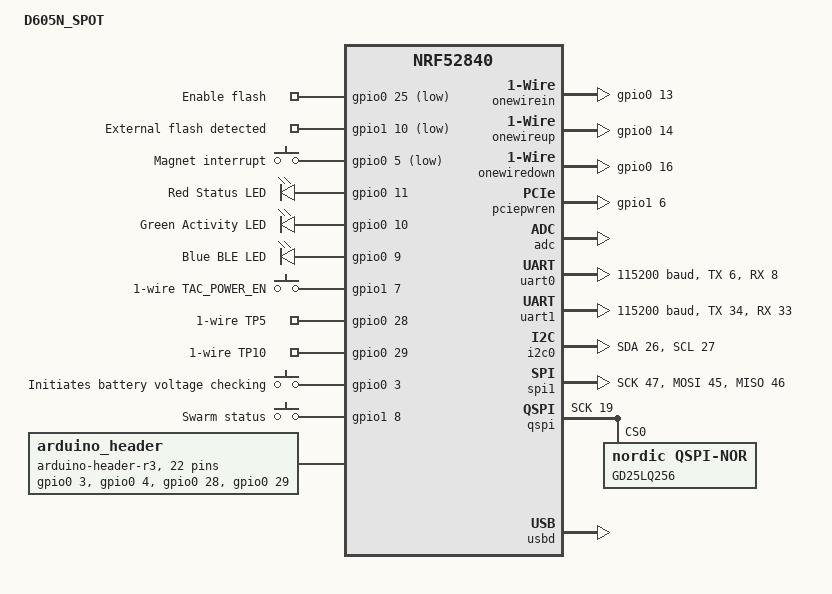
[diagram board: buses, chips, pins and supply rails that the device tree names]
/*
* Copyright (c) 2017 Linaro Limited
*
* SPDX-License-Identifier: Apache-2.0
*/

/dts-v1/;
#include <nordic/nrf52840_qiaa.dtsi>

/ {
    model = "D605N_SPOT";
    compatible = "nordic,d605n_spot";

    chosen {
        zephyr,console = &uart0;
        zephyr,shell-uart = &uart0;
        zephyr,uart-mcumgr = &uart0;
        zephyr,bt-mon-uart = &uart0;
        zephyr,bt-c2h-uart = &uart0;
        zephyr,sram = &sram0;
        zephyr,flash = &flash0;
        zephyr,code-partition = &slot0_partition;
    };

    extern_flash {
        compatible = "gpio-keys";

        flashpwren: flash_pwr_en {
            gpios = <&gpio0 25 (GPIO_PULL_UP | GPIO_ACTIVE_LOW)>;
            label = "Enable flash";
        };
        /* ecs: E_C_S {
            gpios = <&gpio0 24 (GPIO_ACTIVE_LOW)>;
            label = "Has something to do with flash";
        }; */
        flashinstalled: flash_installed {
            gpios = <&gpio1 10 (GPIO_ACTIVE_LOW)>;
            label = "External flash detected";
        };
    };

    interrupts {
        compatible = "gpio-keys";

        magnetintn: mag_int_n {
            gpios = <&gpio0 5 (GPIO_ACTIVE_LOW)>;
            label = "Magnet interrupt";
        };
    };

    leds {
        compatible = "gpio-leds";

        led0: led_0 {
            gpios = <&gpio0 11 (GPIO_ACTIVE_HIGH | GPIO_PULL_UP)>;
            label = "Red Status LED";
        };
        led1: led_1 {
            gpios = <&gpio0 10 (GPIO_ACTIVE_HIGH)>;
            label = "Green Activity LED";
        };
        led2: led_2 {
            gpios = <&gpio0 9 (GPIO_ACTIVE_HIGH)>;
            label = "Blue BLE LED";
        };
    };

    onewire_controller {
        compatible = "gpio-keys";

        tacpwrenable: tac_pwr_enable {
            gpios = <&gpio1 7 (GPIO_ACTIVE_HIGH)>;
            label = "1-wire TAC_POWER_EN";
        };
        onewirein: one_wire_in {
            gpios = <&gpio0 13 (GPIO_ACTIVE_HIGH)>;      /* TBD  this is an INPUT */
            label = "1-wire _1W_IN";
        };
        onewireup: one_wire_up {
            gpios = <&gpio0 14 (GPIO_ACTIVE_HIGH)>;
            label = "1-wire _1W_UP";
        };
        onewiredown: one_wire_down {
            gpios = <&gpio0 16 (GPIO_ACTIVE_HIGH)>;
            label = "1-wire _1W_DOWN";
        };
        tp5: tp_5 {
            gpios = <&gpio0 28 (GPIO_ACTIVE_HIGH)>;
            label = "1-wire TP5";
        };
        tp10: tp_10 {
            gpios = <&gpio0 29 (GPIO_ACTIVE_HIGH)>;
            label = "1-wire TP10";
        };
    };

    adc {
        compatible = "gpio-keys";

        checkvbatt: check_vbatt {
            gpios = <&gpio0 3 (GPIO_ACTIVE_HIGH)>;
            label = "Initiates battery voltage checking";
        };
    };

    miscellaneous {
        compatible = "gpio-keys";

        pciepwren: pcie_pwr_en {
            gpios = <&gpio1 6 (GPIO_ACTIVE_HIGH)>;
            label = "PCIe power enable";
        };
        swarmstatus: swarm_t_rn_status {
            gpios = <&gpio1 8 (GPIO_ACTIVE_HIGH)>;
            label = "Swarm status";
        };
    };

    arduino_header: connector {
        compatible = "arduino-header-r3";
        #gpio-cells = <2>;
        gpio-map-mask = <0xffffffff 0xffffffc0>;
        gpio-map-pass-thru = <0 0x3f>;
        gpio-map = <0 0 &gpio0 3 0>,	/* A0 */
            <1 0 &gpio0 4 0>,	/* A1 */
            <2 0 &gpio0 28 0>,	/* A2 */
            <3 0 &gpio0 29 0>,	/* A3 */
            <4 0 &gpio0 30 0>,	/* A4 */
            <5 0 &gpio0 31 0>,	/* A5 */
            <6 0 &gpio1 1 0>,	/* D0 */
            <7 0 &gpio1 2 0>,	/* D1 */
            <8 0 &gpio1 3 0>,	/* D2 */
            <9 0 &gpio1 4 0>,	/* D3 */
            <10 0 &gpio1 5 0>,	/* D4 */
            <11 0 &gpio1 6 0>,	/* D5 */
            <12 0 &gpio1 7 0>,	/* D6 */
            <13 0 &gpio1 8 0>,	/* D7 */
            <14 0 &gpio1 10 0>,	/* D8 */
            <15 0 &gpio1 11 0>,	/* D9 */
            <16 0 &gpio1 12 0>,	/* D10 */
            <17 0 &gpio1 13 0>,	/* D11 */
            <18 0 &gpio1 14 0>,	/* D12 */
            <19 0 &gpio1 15 0>,	/* D13 */
            <20 0 &gpio0 26 0>,	/* D14 */
            <21 0 &gpio0 27 0>;	/* D15 */
    };

    /* These aliases are provided for compatibility with samples */
    aliases {
        tacpwrenable = &tacpwrenable;
        onewirein = &onewirein;
        onewireup = &onewireup;
        onewiredown = &onewiredown;
        tp5 = &tp5;
        tp10 = &tp10;

        flashpwren = &flashpwren;
        magnetintn = &magnetintn;
        flashinstalled = &flashinstalled;

        checkvbatt = &checkvbatt;

        pciepwren = &pciepwren;
        swarmstatus = &swarmstatus;

        led0 = &led0;
        led1 = &led1;
        led2 = &led2;

        usbd0 = &usbd;
    };
};

&pciepwren      { status = "okay"; };
&swarmstatus    { status = "okay"; };
&tacpwrenable   { status = "okay"; };
&onewirein      { status = "okay"; };
&onewireup      { status = "okay"; };
&onewiredown    { status = "okay"; };
&tp5            { status = "okay"; };
&tp10           { status = "okay"; };
&flashpwren     { status = "okay"; };
&magnetintn     { status = "okay"; };
&flashinstalled { status = "okay"; };
&checkvbatt     { status = "okay"; };

&led0 {
    status = "okay";
};

&led1 {
    status = "okay";
};

&led2 {
    status = "okay";
};

&adc {
    status = "okay";
};

&gpiote {
    status = "okay";
};

&gpio0 {
    status = "okay";
};

&gpio1 {
    status = "okay";
};

&uart0 {
    compatible = "nordic,nrf-uarte";
    status = "okay";
    current-speed = <115200>;
    tx-pin = <6>;
    rx-pin = <8>;
};

&uart1 {
    status = "okay";
    current-speed = <115200>;
    rx-pin = <33>;
    tx-pin = <34>;
};

&i2c0 {
    compatible = "nordic,nrf-twi";
    status = "okay";
    sda-pin = <26>;
    scl-pin = <27>;
};

&spi1 {
    compatible = "nordic,nrf-spi";
    status = "okay";
    sck-pin = <47>;
    miso-pin = <46>;
    mosi-pin = <45>;
    cs-gpios = <&gpio1 3 GPIO_ACTIVE_LOW>, <&gpio1 5 GPIO_ACTIVE_LOW>, <&gpio1 6 GPIO_ACTIVE_LOW>, <&gpio1 7 GPIO_ACTIVE_LOW>;
};

&qspi {
    status = "okay";
    sck-pin = <19>;
    io-pins = <20>, <21>, <22>, <23>;
    csn-pins = <17>;
    gd25lq256: gd25lq256@0 {
        /* NOTE: Quad mode IS supported after Jake modified the zephyr driver
        */
        compatible = "nordic,qspi-nor";
        reg = <0>;
        writeoc = "pp4o";
        readoc = "read4o";
        sck-frequency = <200000000>;
        label = "GD25LQ256";
        jedec-id = [c8 66 19];
        size = <268435456>;
        address-size-32;
        has-dpd;
        t-enter-dpd = <20000>;
        t-exit-dpd = <20000>;
    };
};

&flash0 {

    partitions {
        compatible = "fixed-partitions";
        #address-cells = <1>;
        #size-cells = <1>;

        boot_partition: partition@0 {
            label = "mcuboot";
            reg = <0x000000000 0x0000C000>;
        };
        slot0_partition: partition@c000 {
            label = "image-0";
            reg = <0x0000C000 0x00067000>;
        };
        slot1_partition: partition@73000 {
            label = "image-1";
            reg = <0x00073000 0x00067000>;
        };
        scratch_partition: partition@da000 {
            label = "image-scratch";
            reg = <0x000da000 0x0001e000>;
        };

        /*
        * The flash starting at 0x000f8000 and ending at
        * 0x000fffff is reserved for use by the application.
        */

        /*
        * Storage partition will be used by FCB/LittleFS/NVS
        * if enabled.
        */
        storage_partition: partition@f8000 {
            label = "storage";
            reg = <0x000f8000 0x00008000>;
        };
    };
};

&usbd {
    compatible = "nordic,nrf-usbd";
    status = "okay";
};
